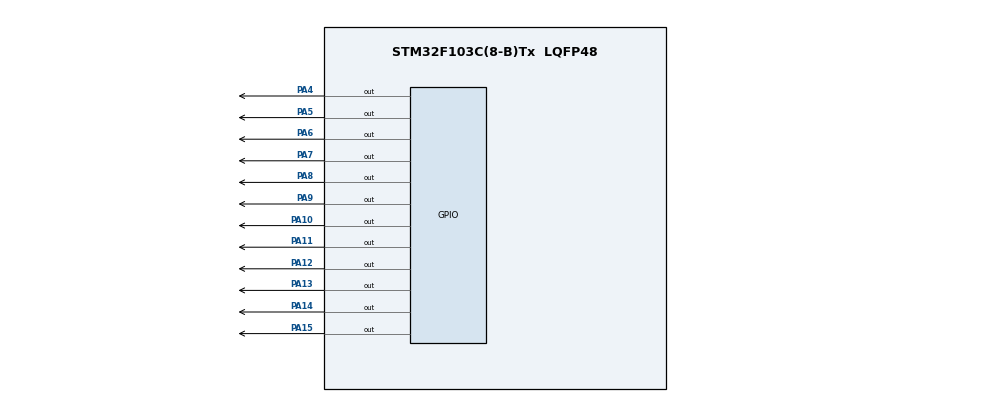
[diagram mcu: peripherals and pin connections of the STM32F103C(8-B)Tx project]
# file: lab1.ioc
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Mcu.Family=STM32F1
Mcu.Name=STM32F103C(8-B)Tx
Mcu.Package=LQFP48
NVIC.PriorityGroup=NVIC_PRIORITYGROUP_4
PA10.Signal=GPIO_Output
PA11.Signal=GPIO_Output
PA12.Signal=GPIO_Output
PA13.Signal=GPIO_Output
PA14.Signal=GPIO_Output
PA15.Signal=GPIO_Output
PA4.Signal=GPIO_Output
PA5.Signal=GPIO_Output
PA6.Signal=GPIO_Output
PA7.Signal=GPIO_Output
PA8.Signal=GPIO_Output
PA9.Signal=GPIO_Output
ProjectManager.HeapSize=0x200
ProjectManager.StackSize=0x400
ProjectManager.TargetToolchain=STM32CubeIDE
RCC.APB1Freq_Value=8000000
RCC.APB2Freq_Value=8000000
board=custom

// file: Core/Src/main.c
/* USER CODE BEGIN Header */
/**
 ******************************************************************************
 * @file           : main.c
 * @brief          : Main program body
 ******************************************************************************
 * @attention
 *
 * Copyright (c) 2023 STMicroelectronics.
 * All rights reserved.
 *
 * This software is licensed under terms that can be found in the LICENSE file
 * in the root directory of this software component.
 * If no LICENSE file comes with this software, it is provided AS-IS.
 *
 ******************************************************************************
 */
/* USER CODE END Header */

#include "main.h"
/* USER CODE BEGIN Includes */
#include "software_timer.h"
/* USER CODE END Includes */

/* USER CODE BEGIN PD */
#define LED_ON 1
#define LED_OFF 0
#define TIME_ON 200 //2s
#define TIME_OFF 200 //2s

/* USER CODE END PD */

void SystemClock_Config(void);
static void MX_GPIO_Init(void);

int main(void) {

	/* MCU Configuration--------------------------------------------------------*/

	/* Reset of all peripherals, Initializes the Flash interface and the Systick. */
	HAL_Init();

	/* USER CODE BEGIN Init */
	unsigned short led_st = 0;
	struct s_timer timer;
	/* USER CODE END Init */

	/* Configure the system clock */
	SystemClock_Config();

	/* USER CODE BEGIN SysInit */
	set_timer(&timer, TIME_ON);
	/* USER CODE END SysInit */

	/* Initialize all configured peripherals */
	MX_GPIO_Init();

	/* Infinite loop */
	/* USER CODE BEGIN WHILE */
	while (1) {
		switch (led_st) {
		case LED_ON:
			HAL_GPIO_WritePin(GPIOA, GPIO_PIN_5, 1);
			HAL_GPIO_WritePin(GPIOA, GPIO_PIN_6, 0);
			if (!timer.st) {
				led_st = LED_OFF;
				set_timer(&timer, TIME_OFF);
			}
			break;
		default:
			HAL_GPIO_WritePin(GPIOA, GPIO_PIN_5, 0);
			HAL_GPIO_WritePin(GPIOA, GPIO_PIN_6, 1);
			if (!timer.st) {
				led_st = LED_ON;
				set_timer(&timer, TIME_ON);
			}
		}
		run_timer(&timer);
		HAL_Delay(10);
		/* USER CODE END WHILE */

	}
}

void SystemClock_Config(void) {
	RCC_OscInitTypeDef RCC_OscInitStruct = { 0 };
	RCC_ClkInitTypeDef RCC_ClkInitStruct = { 0 };

	/** Initializes the RCC Oscillators according to the specified parameters
	 * in the RCC_OscInitTypeDef structure.
	 */
	RCC_OscInitStruct.OscillatorType = RCC_OSCILLATORTYPE_HSI;
	RCC_OscInitStruct.HSIState = RCC_HSI_ON;
	RCC_OscInitStruct.HSICalibrationValue = RCC_HSICALIBRATION_DEFAULT;
	RCC_OscInitStruct.PLL.PLLState = RCC_PLL_NONE;
	if (HAL_RCC_OscConfig(&RCC_OscInitStruct) != HAL_OK) {
		Error_Handler();
	}

	/** Initializes the CPU, AHB and APB buses clocks
	 */
	RCC_ClkInitStruct.ClockType = RCC_CLOCKTYPE_HCLK | RCC_CLOCKTYPE_SYSCLK
			| RCC_CLOCKTYPE_PCLK1 | RCC_CLOCKTYPE_PCLK2;
	RCC_ClkInitStruct.SYSCLKSource = RCC_SYSCLKSOURCE_HSI;
	RCC_ClkInitStruct.AHBCLKDivider = RCC_SYSCLK_DIV1;
	RCC_ClkInitStruct.APB1CLKDivider = RCC_HCLK_DIV1;
	RCC_ClkInitStruct.APB2CLKDivider = RCC_HCLK_DIV1;

	if (HAL_RCC_ClockConfig(&RCC_ClkInitStruct, FLASH_LATENCY_0) != HAL_OK) {
		Error_Handler();
	}
}

static void MX_GPIO_Init(void) {
	GPIO_InitTypeDef GPIO_InitStruct = { 0 };

	/* GPIO Ports Clock Enable */
	__HAL_RCC_GPIOA_CLK_ENABLE();

	/*Configure GPIO pin Output Level */
	HAL_GPIO_WritePin(GPIOA, GPIO_PIN_5 | GPIO_PIN_6, GPIO_PIN_RESET);

	/*Configure GPIO pins : PA5 PA6 */
	GPIO_InitStruct.Pin = GPIO_PIN_5 | GPIO_PIN_6;
	GPIO_InitStruct.Mode = GPIO_MODE_OUTPUT_PP;
	GPIO_InitStruct.Pull = GPIO_NOPULL;
	GPIO_InitStruct.Speed = GPIO_SPEED_FREQ_LOW;
	HAL_GPIO_Init(GPIOA, &GPIO_InitStruct);

}

void Error_Handler(void) {
	__disable_irq();
	while (1) {
	}
}
